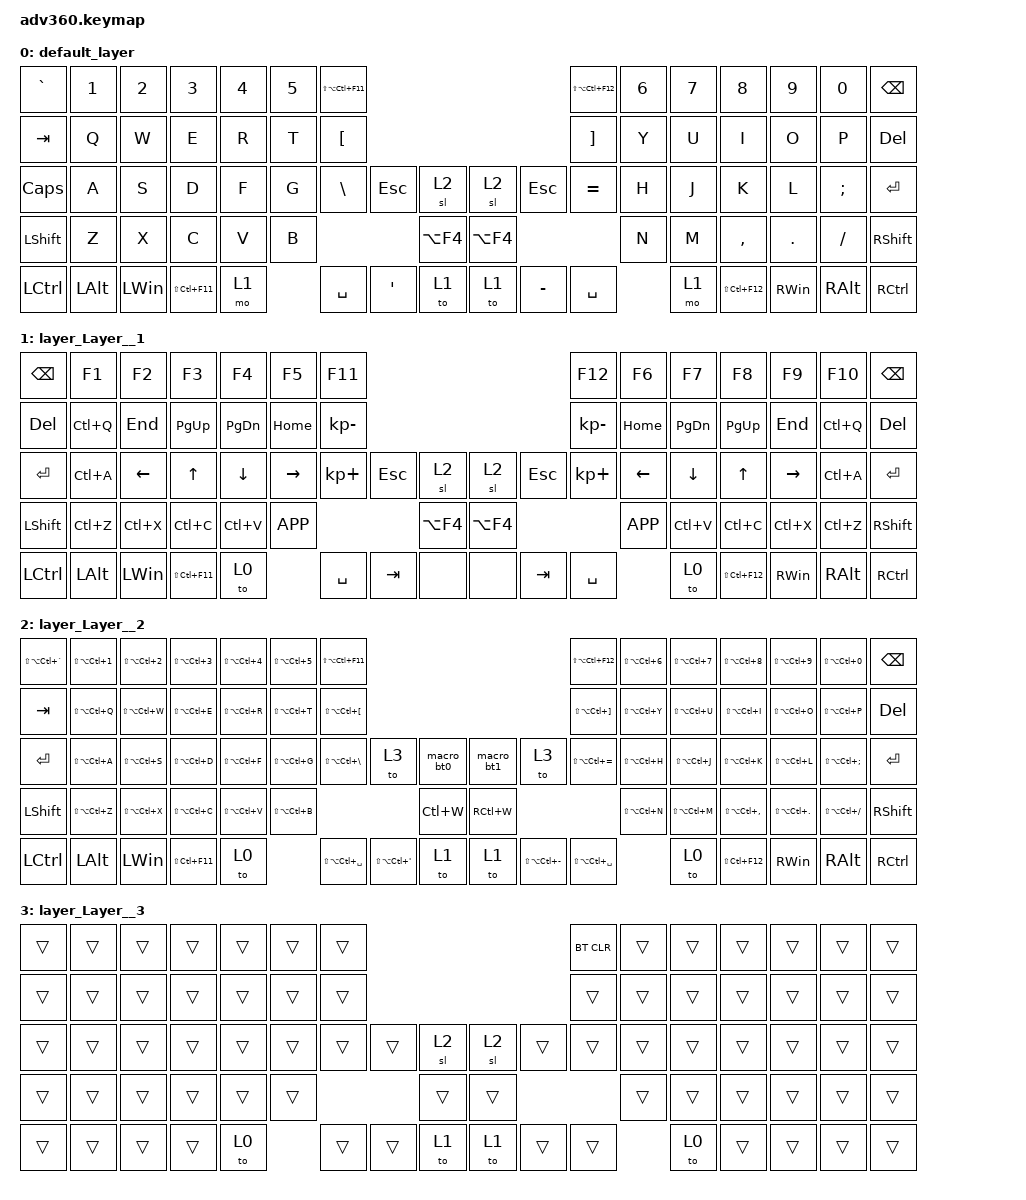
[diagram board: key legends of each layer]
/*
 * Copyright (c) 2020 The ZMK Contributors
 *
 * SPDX-License-Identifier: MIT
 */
/* THIS FILE WAS GENERATED!
 *
 * This file was generated automatically. You may or may not want to
 * edit it directly.
 */

#include <behaviors.dtsi>
#include <dt-bindings/zmk/bt.h>
#include <dt-bindings/zmk/keys.h>

/ {
    behaviors {
        #include "macros.dtsi"
    #include "version.dtsi"

        hm: homerow_mods {
            compatible = "zmk,behavior-hold-tap";
            label = "HOMEROW_MODS";
            #binding-cells = <2>;
            tapping-term-ms = <200>;
            quick_tap_ms = <175>;
            flavor = "tap-preferred";
            bindings = <&kp>, <&kp>;
        };
    };

    keymap {
        compatible = "zmk,keymap";

        default_layer {
            bindings = <
&kp GRAVE         &kp N1        &kp N2        &kp N3           &kp N4  &kp N5  &kp LS(LA(LC(F11)))                                                   &kp LS(LA(LC(F12)))  &kp N6  &kp N7  &kp N8           &kp N9         &kp N0         &kp BACKSPACE
&kp TAB           &kp Q         &kp W         &kp E            &kp R   &kp T   &kp LEFT_BRACKET                                                      &kp RIGHT_BRACKET    &kp Y   &kp U   &kp I            &kp O          &kp P          &kp DEL
&kp CAPS          &kp A         &kp S         &kp D            &kp F   &kp G   &kp BACKSLASH        &kp ESC   &sl 2           &sl 2       &kp ESC    &kp EQUAL            &kp H   &kp J   &kp K            &kp L          &kp SEMI       &kp ENTER
&kp LSHFT         &kp Z         &kp X         &kp C            &kp V   &kp B                                  &kp LA(F4)      &kp LA(F4)                                  &kp N   &kp M   &kp COMMA        &kp DOT        &kp FSLH       &kp RSHFT
&kp LEFT_CONTROL  &kp LEFT_ALT  &kp LEFT_WIN  &kp LS(LC(F11))  &mo 1           &kp SPACE            &kp APOS  &to 1           &to 1       &kp MINUS  &kp SPACE                    &mo 1   &kp LS(LC(F12))  &kp RIGHT_WIN  &kp RIGHT_ALT  &kp RIGHT_CONTROL
            >;
        };

        layer_Layer__1 {
            bindings = <
&kp BSPC          &kp F1        &kp F2        &kp F3           &kp F4     &kp F5     &kp F11                                                     &kp F12       &kp F6     &kp F7     &kp F8           &kp F9         &kp F10        &kp BACKSPACE
&kp DEL           &kp LC(Q)     &kp END       &kp PG_UP        &kp PG_DN  &kp HOME   &kp KP_MINUS                                                &kp KP_MINUS  &kp HOME   &kp PG_DN  &kp PG_UP        &kp END        &kp LC(Q)      &kp DEL
&kp ENTER         &kp LC(A)     &kp LEFT      &kp UP           &kp DOWN   &kp RIGHT  &kp KP_PLUS   &kp ESC  &sl 2           &sl 2       &kp ESC  &kp KP_PLUS   &kp LEFT   &kp DOWN   &kp UP           &kp RIGHT      &kp LC(A)      &kp ENTER
&kp LEFT_SHIFT    &kp LC(Z)     &kp LC(X)     &kp LC(C)        &kp LC(V)  &kp K_APP                         &kp LA(F4)      &kp LA(F4)                         &kp K_APP  &kp LC(V)  &kp LC(C)        &kp LC(X)      &kp LC(Z)      &kp RIGHT_SHIFT
&kp LEFT_CONTROL  &kp LEFT_ALT  &kp LEFT_WIN  &kp LS(LC(F11))  &to 0                 &kp SPACE     &kp TAB  &none           &none       &kp TAB  &kp SPACE                &to 0      &kp LS(LC(F12))  &kp RIGHT_WIN  &kp RIGHT_ALT  &kp RIGHT_CONTROL
            >;
        };

        layer_Layer__2 {
            bindings = <
&kp LS(LA(LC(GRAVE)))  &kp LS(LA(LC(NUMBER_1)))  &kp LS(LA(LC(NUMBER_2)))  &kp LS(LA(LC(NUMBER_3)))  &kp LS(LA(LC(NUMBER_4)))  &kp LS(LA(LC(NUMBER_5)))  &kp LS(LA(LC(F11)))                                                                                    &kp LS(LA(LC(F12)))            &kp LS(LA(LC(NUMBER_6)))  &kp LS(LA(LC(NUMBER_7)))  &kp LS(LA(LC(NUMBER_8)))  &kp LS(LA(LC(NUMBER_9)))  &kp LS(LA(LC(NUMBER_0)))  &kp BACKSPACE
&kp TAB                &kp LS(LA(LC(Q)))         &kp LS(LA(LC(W)))         &kp LS(LA(LC(E)))         &kp LS(LA(LC(R)))         &kp LS(LA(LC(T)))         &kp LS(LA(LC(LEFT_BRACKET)))                                                                           &kp LS(LA(LC(RIGHT_BRACKET)))  &kp LS(LA(LC(Y)))         &kp LS(LA(LC(U)))         &kp LS(LA(LC(I)))         &kp LS(LA(LC(O)))         &kp LS(LA(LC(P)))         &kp DEL
&kp ENTER              &kp LS(LA(LC(A)))         &kp LS(LA(LC(S)))         &kp LS(LA(LC(D)))         &kp LS(LA(LC(F)))         &kp LS(LA(LC(G)))         &kp LS(LA(LC(BACKSLASH)))     &to 3                 &macro_bt0      &macro_bt1  &to 3                  &kp LS(LA(LC(EQUAL)))          &kp LS(LA(LC(H)))         &kp LS(LA(LC(J)))         &kp LS(LA(LC(K)))         &kp LS(LA(LC(L)))         &kp LS(LA(LC(SEMI)))      &kp ENTER
&kp LEFT_SHIFT         &kp LS(LA(LC(Z)))         &kp LS(LA(LC(X)))         &kp LS(LA(LC(C)))         &kp LS(LA(LC(V)))         &kp LS(LA(LC(B)))                                                             &kp LC(W)       &kp RC(W)                                                         &kp LS(LA(LC(N)))         &kp LS(LA(LC(M)))         &kp LS(LA(LC(COMMA)))     &kp LS(LA(LC(PERIOD)))    &kp LS(LA(LC(SLASH)))     &kp RIGHT_SHIFT
&kp LEFT_CONTROL       &kp LEFT_ALT              &kp LEFT_WIN              &kp LS(LC(F11))           &to 0                                               &kp LS(LA(LC(SPACE)))         &kp LS(LA(LC(APOS)))  &to 1           &to 1       &kp LS(LA(LC(MINUS)))  &kp LS(LA(LC(SPACE)))                                    &to 0                     &kp LS(LC(F12))           &kp RIGHT_WIN             &kp RIGHT_ALT             &kp RIGHT_CONTROL
            >;
        };

        layer_Layer__3 {
            bindings = <
&trans  &trans  &trans  &trans  &trans  &trans  &trans                                      &bt BT_CLR  &trans  &trans  &trans  &trans  &trans  &trans
&trans  &trans  &trans  &trans  &trans  &trans  &trans                                      &trans      &trans  &trans  &trans  &trans  &trans  &trans
&trans  &trans  &trans  &trans  &trans  &trans  &trans  &trans  &sl 2       &sl 2   &trans  &trans      &trans  &trans  &trans  &trans  &trans  &trans
&trans  &trans  &trans  &trans  &trans  &trans                  &trans      &trans                      &trans  &trans  &trans  &trans  &trans  &trans
&trans  &trans  &trans  &trans  &to 0           &trans  &trans  &to 1       &to 1   &trans  &trans              &to 0   &trans  &trans  &trans  &trans
            >;
        };
    };
};
